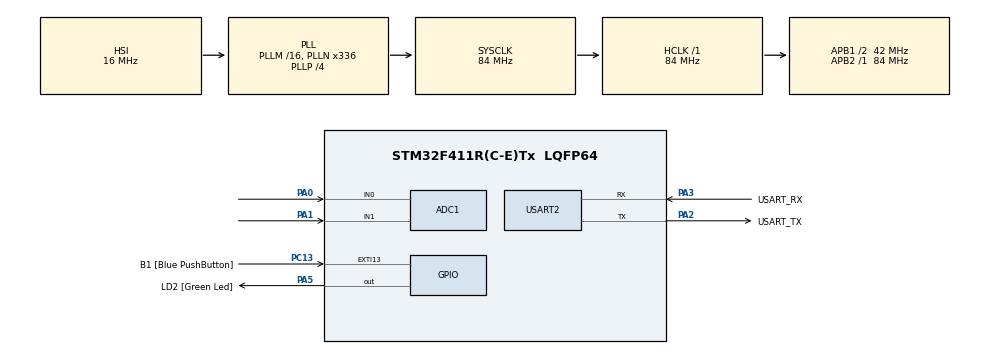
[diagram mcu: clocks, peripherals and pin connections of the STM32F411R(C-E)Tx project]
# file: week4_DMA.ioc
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ADC1.Channel-0\#ChannelRegularConversion=ADC_CHANNEL_0
ADC1.Channel-1\#ChannelRegularConversion=ADC_CHANNEL_1
ADC1.Channel-2\#ChannelRegularConversion=ADC_CHANNEL_TEMPSENSOR
ADC1.Channel-3\#ChannelRegularConversion=ADC_CHANNEL_0
ADC1.NbrOfConversion=4
ADC1.NbrOfConversionFlag=1
ADC1.Rank-0\#ChannelRegularConversion=1
ADC1.Rank-1\#ChannelRegularConversion=2
ADC1.Rank-2\#ChannelRegularConversion=3
ADC1.Rank-3\#ChannelRegularConversion=4
ADC1.SamplingTime-0\#ChannelRegularConversion=ADC_SAMPLETIME_480CYCLES
ADC1.SamplingTime-1\#ChannelRegularConversion=ADC_SAMPLETIME_480CYCLES
ADC1.SamplingTime-2\#ChannelRegularConversion=ADC_SAMPLETIME_480CYCLES
ADC1.SamplingTime-3\#ChannelRegularConversion=ADC_SAMPLETIME_480CYCLES
ADC1.master=1
Dma.ADC1.0.Direction=DMA_PERIPH_TO_MEMORY
Dma.ADC1.0.FIFOMode=DMA_FIFOMODE_DISABLE
Dma.ADC1.0.Instance=DMA2_Stream0
Dma.ADC1.0.MemDataAlignment=DMA_MDATAALIGN_WORD
Dma.ADC1.0.MemInc=DMA_MINC_ENABLE
Dma.ADC1.0.Mode=DMA_CIRCULAR
Dma.ADC1.0.PeriphDataAlignment=DMA_PDATAALIGN_WORD
Dma.ADC1.0.PeriphInc=DMA_PINC_DISABLE
Dma.ADC1.0.Priority=DMA_PRIORITY_LOW
Dma.Request0=ADC1
Mcu.Family=STM32F4
Mcu.Name=STM32F411R(C-E)Tx
Mcu.Package=LQFP64
NVIC.DMA2_Stream0_IRQn=true\:0\:0\:false\:false\:true\:false\:true
NVIC.EXTI15_10_IRQn=true\:0\:0\:false\:false\:true\:true\:true
NVIC.PriorityGroup=NVIC_PRIORITYGROUP_0
PA0-WKUP.Signal=ADCx_IN0
PA1.Signal=ADCx_IN1
PA13.GPIO_Label=TMS
PA13.Mode=Serial_Wire
PA13.Signal=SYS_JTMS-SWDIO
PA14.GPIO_Label=TCK
PA14.Mode=Serial_Wire
PA14.Signal=SYS_JTCK-SWCLK
PA2.GPIO_Label=USART_TX
PA2.Mode=Asynchronous
PA2.Signal=USART2_TX
PA3.GPIO_Label=USART_RX
PA3.Mode=Asynchronous
PA3.Signal=USART2_RX
PA5.GPIO_Label=LD2 [Green Led]
PA5.PinState=GPIO_PIN_SET
PA5.Signal=GPIO_Output
PB3.GPIO_Label=SWO
PB3.Signal=SYS_JTDO-SWO
PC13-ANTI_TAMP.GPIO_Label=B1 [Blue PushButton]
PC13-ANTI_TAMP.GPIO_ModeDefaultEXTI=GPIO_MODE_IT_RISING_FALLING
PC13-ANTI_TAMP.Signal=GPXTI13
PC14-OSC32_IN.Mode=LSE-External-Oscillator
PC14-OSC32_IN.Signal=RCC_OSC32_IN
PC15-OSC32_OUT.Mode=LSE-External-Oscillator
PC15-OSC32_OUT.Signal=RCC_OSC32_OUT
PH0\ -\ OSC_IN.Mode=HSE-External-Clock-Source
PH0\ -\ OSC_IN.Signal=RCC_OSC_IN
PH1\ -\ OSC_OUT.Mode=HSE-External-Clock-Source
PH1\ -\ OSC_OUT.Signal=RCC_OSC_OUT
ProjectManager.HeapSize=0x200
ProjectManager.StackSize=0x400
ProjectManager.TargetToolchain=STM32CubeIDE
RCC.48MHZClocksFreq_Value=84000000
RCC.AHBFreq_Value=84000000
RCC.APB1CLKDivider=RCC_HCLK_DIV2
RCC.APB1Freq_Value=42000000
RCC.APB1TimFreq_Value=84000000
RCC.APB2Freq_Value=84000000
RCC.APB2TimFreq_Value=84000000
RCC.CortexFreq_Value=84000000
RCC.FLatency-AdvancedSettings=FLASH_LATENCY_2
RCC.HCLKFreq_Value=84000000
RCC.HSE_VALUE=8000000
RCC.HSI_VALUE=16000000
RCC.PLLN=336
RCC.PLLP=RCC_PLLP_DIV4
RCC.SYSCLKFreq_VALUE=84000000
RCC.SYSCLKSource=RCC_SYSCLKSOURCE_PLLCLK
RCC.VCOOutputFreq_Value=336000000
SH.ADCx_IN0.0=ADC1_IN0,IN0
SH.ADCx_IN1.0=ADC1_IN1,IN1
USART2.VirtualMode=VM_ASYNC
VP_ADC1_TempSens_Input.Mode=IN-TempSens
VP_ADC1_Vref_Input.Mode=IN-Vrefint
board=NUCLEO-F411RE

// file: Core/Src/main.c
/* USER CODE BEGIN Header */
/**
  ******************************************************************************
  * @file           : main.c
  * @brief          : Main program body
  ******************************************************************************
  * @attention
  *
  * <h2><center>&copy; Copyright (c) 2021 STMicroelectronics.
  * All rights reserved.</center></h2>
  *
  * This software component is licensed by ST under BSD 3-Clause license,
  * the "License"; You may not use this file except in compliance with the
  * License. You may obtain a copy of the License at:
  *                        opensource.org/licenses/BSD-3-Clause
  *
  ******************************************************************************
  */
/* USER CODE END Header */
#include "main.h"

ADC_HandleTypeDef hadc1;
DMA_HandleTypeDef hdma_adc1;

UART_HandleTypeDef huart2;

/* USER CODE BEGIN PV */
uint32_t ADCData[4]={0};
int Mode = 0;
int Check =0;
int Switch[2];
uint32_t Time = 0;
uint32_t Time_start = 0;
uint32_t Time_count = 0;
uint32_t Time_now = 0;
/* USER CODE END PV */

void SystemClock_Config(void);
static void MX_GPIO_Init(void);
static void MX_DMA_Init(void);
static void MX_USART2_UART_Init(void);
static void MX_ADC1_Init(void);

int main(void)
{

  /* MCU Configuration--------------------------------------------------------*/

  /* Reset of all peripherals, Initializes the Flash interface and the Systick. */
  HAL_Init();

  /* Configure the system clock */
  SystemClock_Config();

  /* Initialize all configured peripherals */
  MX_GPIO_Init();
  MX_DMA_Init();
  MX_USART2_UART_Init();
  MX_ADC1_Init();
  /* USER CODE BEGIN 2 */
  HAL_ADC_Start_DMA(&hadc1, ADCData, 4);
  /* USER CODE END 2 */

  /* Infinite loop */
  while (1)
  {

    /* USER CODE BEGIN 3 */
	  Time_now = HAL_GetTick();
	  if(Mode == 1)
	  {
		  if(HAL_GetTick() > Time_start)
		  {
			  HAL_GPIO_WritePin(GPIOA, GPIO_PIN_5, 1);
			  Mode = 2;
		  }
	  }
//	  else if(Mode == 2)
//	  {
//		  if(HAL_GPIO_ReadPin(GPIOC, GPIO_PIN_13) == GPIO_PIN_SET)
//		  {
//			  Time_count = Time_now - Time_start;
//			  Mode = -1;
//		  }
//	  }

  }
  /* USER CODE END 3 */
}

void SystemClock_Config(void)
{
  RCC_OscInitTypeDef RCC_OscInitStruct = {0};
  RCC_ClkInitTypeDef RCC_ClkInitStruct = {0};

  /** Configure the main internal regulator output voltage
  */
  __HAL_RCC_PWR_CLK_ENABLE();
  __HAL_PWR_VOLTAGESCALING_CONFIG(PWR_REGULATOR_VOLTAGE_SCALE1);
  /** Initializes the RCC Oscillators according to the specified parameters
  * in the RCC_OscInitTypeDef structure.
  */
  RCC_OscInitStruct.OscillatorType = RCC_OSCILLATORTYPE_HSI;
  RCC_OscInitStruct.HSIState = RCC_HSI_ON;
  RCC_OscInitStruct.HSICalibrationValue = RCC_HSICALIBRATION_DEFAULT;
  RCC_OscInitStruct.PLL.PLLState = RCC_PLL_ON;
  RCC_OscInitStruct.PLL.PLLSource = RCC_PLLSOURCE_HSI;
  RCC_OscInitStruct.PLL.PLLM = 16;
  RCC_OscInitStruct.PLL.PLLN = 336;
  RCC_OscInitStruct.PLL.PLLP = RCC_PLLP_DIV4;
  RCC_OscInitStruct.PLL.PLLQ = 4;
  if (HAL_RCC_OscConfig(&RCC_OscInitStruct) != HAL_OK)
  {
    Error_Handler();
  }
  /** Initializes the CPU, AHB and APB buses clocks
  */
  RCC_ClkInitStruct.ClockType = RCC_CLOCKTYPE_HCLK|RCC_CLOCKTYPE_SYSCLK
                              |RCC_CLOCKTYPE_PCLK1|RCC_CLOCKTYPE_PCLK2;
  RCC_ClkInitStruct.SYSCLKSource = RCC_SYSCLKSOURCE_PLLCLK;
  RCC_ClkInitStruct.AHBCLKDivider = RCC_SYSCLK_DIV1;
  RCC_ClkInitStruct.APB1CLKDivider = RCC_HCLK_DIV2;
  RCC_ClkInitStruct.APB2CLKDivider = RCC_HCLK_DIV1;

  if (HAL_RCC_ClockConfig(&RCC_ClkInitStruct, FLASH_LATENCY_2) != HAL_OK)
  {
    Error_Handler();
  }
}

static void MX_ADC1_Init(void)
{

  ADC_ChannelConfTypeDef sConfig = {0};

  /** Configure the global features of the ADC (Clock, Resolution, Data Alignment and number of conversion)
  */
  hadc1.Instance = ADC1;
  hadc1.Init.ClockPrescaler = ADC_CLOCK_SYNC_PCLK_DIV4;
  hadc1.Init.Resolution = ADC_RESOLUTION_12B;
  hadc1.Init.ScanConvMode = ENABLE;
  hadc1.Init.ContinuousConvMode = DISABLE;
  hadc1.Init.DiscontinuousConvMode = DISABLE;
  hadc1.Init.ExternalTrigConvEdge = ADC_EXTERNALTRIGCONVEDGE_NONE;
  hadc1.Init.ExternalTrigConv = ADC_SOFTWARE_START;
  hadc1.Init.DataAlign = ADC_DATAALIGN_RIGHT;
  hadc1.Init.NbrOfConversion = 4;
  hadc1.Init.DMAContinuousRequests = DISABLE;
  hadc1.Init.EOCSelection = ADC_EOC_SINGLE_CONV;
  if (HAL_ADC_Init(&hadc1) != HAL_OK)
  {
    Error_Handler();
  }
  /** Configure for the selected ADC regular channel its corresponding rank in the sequencer and its sample time.
  */
  sConfig.Channel = ADC_CHANNEL_0;
  sConfig.Rank = 1;
  sConfig.SamplingTime = ADC_SAMPLETIME_480CYCLES;
  if (HAL_ADC_ConfigChannel(&hadc1, &sConfig) != HAL_OK)
  {
    Error_Handler();
  }
  /** Configure for the selected ADC regular channel its corresponding rank in the sequencer and its sample time.
  */
  sConfig.Channel = ADC_CHANNEL_1;
  sConfig.Rank = 2;
  if (HAL_ADC_ConfigChannel(&hadc1, &sConfig) != HAL_OK)
  {
    Error_Handler();
  }
  /** Configure for the selected ADC regular channel its corresponding rank in the sequencer and its sample time.
  */
  sConfig.Channel = ADC_CHANNEL_TEMPSENSOR;
  sConfig.Rank = 3;
  if (HAL_ADC_ConfigChannel(&hadc1, &sConfig) != HAL_OK)
  {
    Error_Handler();
  }
  /** Configure for the selected ADC regular channel its corresponding rank in the sequencer and its sample time.
  */
  sConfig.Channel = ADC_CHANNEL_0;
  sConfig.Rank = 4;
  if (HAL_ADC_ConfigChannel(&hadc1, &sConfig) != HAL_OK)
  {
    Error_Handler();
  }

}

static void MX_USART2_UART_Init(void)
{

  huart2.Instance = USART2;
  huart2.Init.BaudRate = 115200;
  huart2.Init.WordLength = UART_WORDLENGTH_8B;
  huart2.Init.StopBits = UART_STOPBITS_1;
  huart2.Init.Parity = UART_PARITY_NONE;
  huart2.Init.Mode = UART_MODE_TX_RX;
  huart2.Init.HwFlowCtl = UART_HWCONTROL_NONE;
  huart2.Init.OverSampling = UART_OVERSAMPLING_16;
  if (HAL_UART_Init(&huart2) != HAL_OK)
  {
    Error_Handler();
  }

}

static void MX_DMA_Init(void)
{

  /* DMA controller clock enable */
  __HAL_RCC_DMA2_CLK_ENABLE();

  /* DMA interrupt init */
  /* DMA2_Stream0_IRQn interrupt configuration */
  HAL_NVIC_SetPriority(DMA2_Stream0_IRQn, 0, 0);
  HAL_NVIC_EnableIRQ(DMA2_Stream0_IRQn);

}

static void MX_GPIO_Init(void)
{
  GPIO_InitTypeDef GPIO_InitStruct = {0};

  /* GPIO Ports Clock Enable */
  __HAL_RCC_GPIOC_CLK_ENABLE();
  __HAL_RCC_GPIOH_CLK_ENABLE();
  __HAL_RCC_GPIOA_CLK_ENABLE();
  __HAL_RCC_GPIOB_CLK_ENABLE();

  /*Configure GPIO pin Output Level */
  HAL_GPIO_WritePin(LD2_GPIO_Port, LD2_Pin, GPIO_PIN_SET);

  /*Configure GPIO pin : B1_Pin */
  GPIO_InitStruct.Pin = B1_Pin;
  GPIO_InitStruct.Mode = GPIO_MODE_IT_RISING_FALLING;
  GPIO_InitStruct.Pull = GPIO_NOPULL;
  HAL_GPIO_Init(B1_GPIO_Port, &GPIO_InitStruct);

  /*Configure GPIO pin : LD2_Pin */
  GPIO_InitStruct.Pin = LD2_Pin;
  GPIO_InitStruct.Mode = GPIO_MODE_OUTPUT_PP;
  GPIO_InitStruct.Pull = GPIO_NOPULL;
  GPIO_InitStruct.Speed = GPIO_SPEED_FREQ_LOW;
  HAL_GPIO_Init(LD2_GPIO_Port, &GPIO_InitStruct);

  /* EXTI interrupt init*/
  HAL_NVIC_SetPriority(EXTI15_10_IRQn, 0, 0);
  HAL_NVIC_EnableIRQ(EXTI15_10_IRQn);

}

/* USER CODE BEGIN 4 */
void HAL_GPIO_EXTI_Callback(uint16_t GPIO_Pin)
{
	if(GPIO_Pin == GPIO_PIN_13)
		{
			if(Mode == 0)
			{
				HAL_GPIO_TogglePin(LD2_GPIO_Port, LD2_Pin);
				Time = HAL_GetTick();
				Time_start = Time + 1000 +((22695477* ADCData[0]) +ADCData[1]) % 10000;
//				Time_start = Time + 5000;
				Mode = 1;
			}
			else if(Mode == 2)
			{
				Time_count = Time_now - Time_start;
				Mode = -1;
			}
		}
}
/* USER CODE END 4 */

void Error_Handler(void)
{
  __disable_irq();
  while (1)
  {
  }
}

/************************ (C) COPYRIGHT STMicroelectronics *****END OF FILE****/
